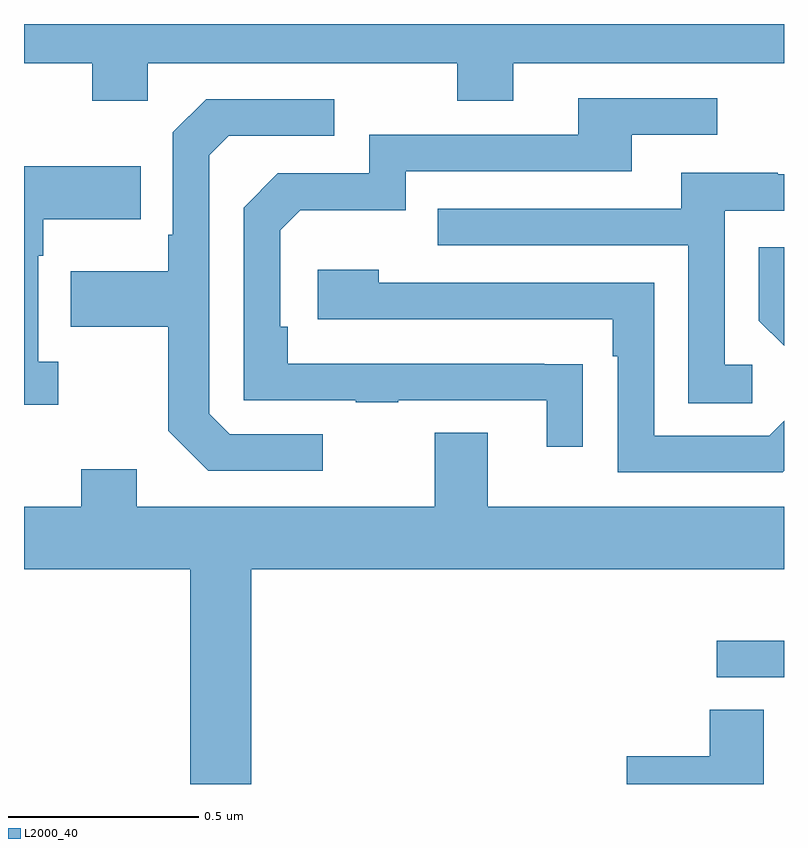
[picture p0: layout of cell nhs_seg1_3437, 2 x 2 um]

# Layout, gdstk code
import gdstk
lib = gdstk.Library(unit=1e-6, precision=1e-09)
def R(c, l, rs):  # rectangles x0, y0, x1, y1
    for r in rs: c.add(gdstk.rectangle(r[:2], r[2:], *l))
def P(c, l, *ps):  # polygons
    for p in ps: c.add(gdstk.Polygon(p, *l))
L2000_40 = (2000, 40)

nhs_seg1_3437 = lib.new_cell('nhs_seg1_3437')
R(nhs_seg1_3437, L2000_40, [(155.823,519.48,156,519.576)])
P(nhs_seg1_3437, L2000_40, [(154.326,521.096),(155.14,521.096),(155.14,520.997),(155.287,520.997),(155.287,521.096),(156,521.096),(156,521.199),(154,521.199),(154,521.096),(154.18,521.096),(154.18,520.997),(154.326,520.997)],
  [(155.471,520.304),(155.369,520.304),(155.369,520.305),(154.694,520.305),(154.694,520.402),(154.674,520.402),(154.674,520.656),(154.727,520.709),(155.004,520.709),(155.004,520.812),(155.599,520.812),(155.599,520.908),(155.824,520.908),(155.824,521.004),(155.459,521.004),(155.459,520.908),(154.908,520.908),(154.908,520.806),(154.668,520.806),(154.578,520.716),(154.578,520.209),(154.873,520.209),(154.873,520.204),(154.985,520.204),(154.985,520.209),(155.375,520.209),(155.375,520.086),(155.471,520.086)],
  [(154.786,520.119),(154.542,520.119),(154.488,520.173),(154.488,520.854),(154.539,520.905),(154.816,520.905),(154.816,521.001),(154.479,521.001),(154.392,520.914),(154.392,520.645),(154.38,520.645),(154.38,520.549),(154.123,520.549),(154.123,520.402),(154.38,520.402),(154.38,520.129),(154.485,520.023),(154.786,520.023)],
  [(154.09,520.31),(154.038,520.31),(154.038,520.589),(154.051,520.589),(154.051,520.685),(154.307,520.685),(154.307,520.825),(154,520.825),(154,520.197),(154.09,520.197)],
  [(155.917,520.302),(155.844,520.302),(155.844,520.707),(156,520.707),(156,520.803),(155.983,520.803),(155.983,520.807),(155.729,520.807),(155.729,520.713),(155.089,520.713),(155.089,520.617),(155.748,520.617),(155.748,520.201),(155.917,520.201)],
  [(156,520.612),(155.934,520.612),(155.934,520.418),(156,520.352)],
  [(156,520.023),(156,520.155),(155.961,520.116),(155.658,520.116),(155.658,520.518),(154.934,520.518),(154.934,520.552),(154.773,520.552),(154.773,520.422),(155.549,520.422),(155.549,520.325),(155.562,520.325),(155.562,520.02),(155.997,520.02)],
  [(154.598,519.764),(156,519.764),(156,519.928),(155.221,519.928),(155.221,520.123),(155.081,520.123),(155.081,519.928),(154.297,519.928),(154.297,520.027),(154.15,520.027),(154.15,519.928),(154,519.928),(154,519.764),(154.438,519.764),(154.438,519.199),(154.598,519.199)],
  [(155.947,519.395),(155.804,519.395),(155.804,519.272),(155.586,519.272),(155.586,519.199),(155.947,519.199)])

lib.write_gds('nhs_seg1_3437.gds')
